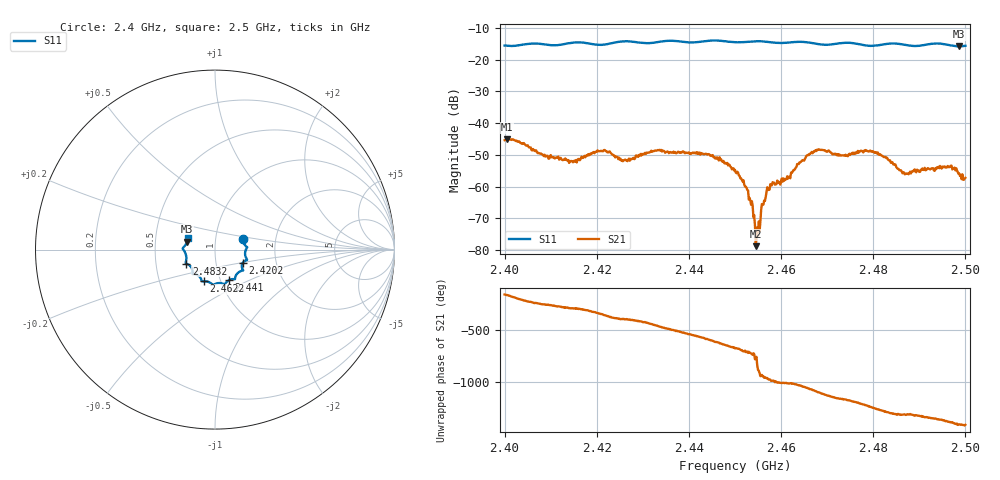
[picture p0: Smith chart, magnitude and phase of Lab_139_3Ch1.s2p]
# Hz S RI R 50
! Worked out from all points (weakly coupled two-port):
!   601 points, 2.4 GHz to 2.5 GHz, reference 50 ohm
!   highest |S21| = -45.07 dB at 2.4005 GHz (marker M1); lowest = -78.8 dB at 2.4545 GHz (marker M2)
!   lowest |S11| = -15.8 dB at 2.4987 GHz (marker M3), VSWR 1.39, Z = 36.4 + j3.35 ohm
!   |S11| at or under -10 dB: start of sweep to end of sweep
!   S12 and S22 are empty: the file has one direction only
!   S11 on the Smith chart (normalised r, x): 2.4 GHz: 1.36, +0.17; 2.4202 GHz: 1.35, -0.20; 2.441 GHz: 1.09, -0.39; 2.4622 GHz: 0.83, -0.30; 2.4832 GHz: 0.72, -0.12; 2.5 GHz: 0.73, +0.10
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2.4e9  0.1561 0.0595  -0.00518 -0.00153  0 0  0 0
2.4005e9  0.1567 0.0535  -0.00545 -0.00118  0 0  0 0
2.409333e9  0.1716 -0.00141  -0.000391 0.00303  0 0  0 0
2.416667e9  0.1775 -0.0582  0.00168 0.00243  0 0  0 0
2.420167e9  0.1556 -0.0724  0.0035 0.00129  0 0  0 0
2.426167e9  0.1573 -0.1157  0.00204 -0.00173  0 0  0 0
2.433333e9  0.1131 -0.1527  -0.000975 -0.00365  0 0  0 0
2.441e9  0.0764 -0.1708  -0.0033 0.00064  0 0  0 0
2.45e9  0.0261 -0.1864  0.00134 0.00126  0 0  0 0
2.452333e9  0.00433 -0.1902  0.000993 0.000136  0 0  0 0
2.4545e9  -0.00812 -0.1951  7.78e-05 -8.53e-05  0 0  0 0
2.455e9  -0.0101 -0.1953  -0.000158 -5.22e-05  0 0  0 0
2.456167e9  -0.0145 -0.1931  -0.00038 0.000358  0 0  0 0
2.457333e9  -0.0205 -0.1889  -0.000243 0.000853  0 0  0 0
2.462167e9  -0.0635 -0.1766  0.000538 0.00157  0 0  0 0
2.466667e9  -0.0767 -0.1665  0.00345 0.000762  0 0  0 0
2.483167e9  -0.16 -0.0779  -0.00239 0.00124  0 0  0 0
2.483333e9  -0.1608 -0.0775  -0.00232 0.00122  0 0  0 0
2.486833e9  -0.1606 -0.0606  -0.00107 0.00115  0 0  0 0
2.4965e9  -0.1687 0.0201  0.000995 0.00177  0 0  0 0
2.498667e9  -0.1558 0.0448  0.00127 0.000989  0 0  0 0
2.5e9  -0.1531 0.0634  0.00114 0.000776  0 0  0 0
